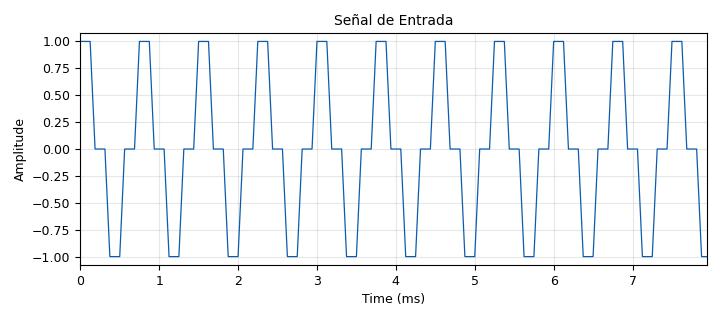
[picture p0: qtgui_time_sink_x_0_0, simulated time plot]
options:
  parameters:
    generate_options: qt_gui
    id: Promedios_de_Tiempos
    output_language: python
    title: Not titled yet
  states: {}

blocks:
- name: samp_rate
  id: variable
  parameters:
    value: '16000'
  states: {}
- name: blocks_vector_source_x_0
  id: blocks_vector_source_x
  parameters:
    repeat: 'True'
    type: float
    vector: (1,1,1,0,0,0,-1,-1,-1,0,0,0)
  states: {}
- name: epy_block_0
  id: epy_block
  parameters:
    _source_code: |
      """
      Embedded Python Blocks:

      Each time this file is saved, GRC will instantiate the first class it finds
      to get ports and parameters of your block. The arguments to __init__  will
      be the parameters. All of them are required to have default values!
      """

      import numpy as np
      from gnuradio import gr
      class blk (gr. sync_block ):
          def __init__ ( self, additionFlag=True) : # only default arguments here
              gr. sync_block . __init__ (
                  self ,
                  name ='Promedios_de_tiempos', 
                  in_sig =[ np. float32 ],
                  out_sig =[ np. float32 , np.float32, np.float32, np.float32, np.float32]
              )
              self . acum_anterior = 0
              self . Ntotales = 0
              self . acum_anterior1 = 0
              self . acum_anterior2 = 0
              
          def work (self , input_items , output_items ):
              x = input_items [0] # Senial de entrada .
              y0 = output_items [0] # Promedio de la senial
              y1 = output_items [1] # Media de la senial
              y2 = output_items [2] # RMS de la senial
              y3 = output_items [3] # Potencia promedio de la senial
              y4 = output_items [4] # Desviacion estandar de la senial

              # Calculo del promedio
              N = len (x)
              self . Ntotales = self . Ntotales + N
              acumulado = self . acum_anterior + np. cumsum (x)
              self . acum_anterior = acumulado [N -1]
              y0 [:]= acumulado / self . Ntotales
              
              # Calculo de la media cuadratica
              x2=np. multiply (x,x)
              acumulado1 = self . acum_anterior1 + np. cumsum (x2)
              self . acum_anterior1 = acumulado [N -1]
              y1 [:] = acumulado1 / self . Ntotales
              
              # Calculo de la RMS
              y2 [:] = np. sqrt (y1)
              
              # Calculo de la potencia promedio
              y3 [:] = np. multiply (y2 ,y2)

              # Calculo de la desviacion estandar
              x3 = np. multiply (x-y0 ,x-y0)
              acumulado2 = self . acum_anterior2 + np. cumsum (x3)
              self . acum_anterior2 = acumulado2 [N -1]
              y4 [:] = np. sqrt ( acumulado2 / self . Ntotales )
              
              return len (x)
              output_items[0][:]=input_items[0]*self.additionFlag
              return len (output_items[0])
    additionFlag: 'True'
  states: {}
- name: epy_block_1
  id: epy_block
  parameters:
    _source_code: |
      """
      Embedded Python Blocks:

      Each time this file is saved, GRC will instantiate the first class it finds
      to get ports and parameters of your block. The arguments to __init__  will
      be the parameters. All of them are required to have default values!
      """

      import numpy as np
      from gnuradio import gr


      class blk(gr.sync_block):  # other base classes are basic_block, decim_block, interp_block
          """Embedded Python Block example - a simple multiply const"""

          def __init__(self, additionFlag=True):  # only default arguments here
              gr.sync_block.__init__(
                  self,
                  name='e_Acum',   # will show up in GRC
                  in_sig=[np.float32],
                  out_sig=[np.float32]
              )
              # Estado acumulado
              self.acumulated_value = 0.0
              self.additionFlag = additionFlag
          
          def work(self, input_items, output_items):
              x = input_items[0]  # Señal de entrada
              y0 = output_items[0]  # Señal acumulada

              # Realizamos la acumulación continua
              for i in range(len(x)):
                  self.acumulated_value += x[i]  # Acumulamos los valores
                  y0[i] = self.acumulated_value  # Guardamos el valor acumulado en la salida

              return len(y0)
    additionFlag: 'True'
  states: {state: disabled}
- name: epy_block_1_0
  id: epy_block
  parameters:
    _source_code: "\"\"\"\nEmbedded Python Blocks:\n\nEach time this file is saved, GRC will instantiate the first class it finds\nto get ports and parameters of your block. The arguments to __init__  will\nbe the parameters. All of them are required to have default values!\n\"\"\"\n\nimport numpy as np\nfrom gnuradio import gr\n\n\nclass blk(gr.sync_block):  # other base classes are basic_block, decim_block, interp_block\n    \"\"\"Embedded Python Block example - a simple multiply const\"\"\"\n\n    def __init__(self, additionFlag=True):  # only default arguments here\n        \"\"\"arguments to this function show up as parameters in GRC\"\"\"\n        gr.sync_block.__init__(\n            self,\n            name='e_Diff',   # will show up in GRC\n            in_sig=[np.float32],\n            out_sig=[np.float32]\n        \n        )\n        self.acum_anterior=0\n\n    def work(self, input_items, output_items):\n        x = input_items[0]\n        y0 = output_items[0]\n    \n        N = len(x)\n    \n        if N < 2:\n            return 0  # Si hay muy pocos datos, no se hace nada\n\n        diff = x[1:] - x[:-1]  # Calcula las diferencias\n    \n        y0[:len(diff)] = diff  # Copia los datos en la salida\n        return len(diff)\n\n"
    additionFlag: 'True'
  states: {state: disabled}
- name: qtgui_number_sink_0
  id: qtgui_number_sink
  parameters:
    graph_type: qtgui.NUM_GRAPH_HORIZ
    name: Media
    type: float
  states: {}
- name: qtgui_number_sink_1
  id: qtgui_number_sink
  parameters:
    graph_type: qtgui.NUM_GRAPH_HORIZ
    name: RMS
    type: float
  states: {}
- name: qtgui_number_sink_2
  id: qtgui_number_sink
  parameters:
    graph_type: qtgui.NUM_GRAPH_HORIZ
    name: Media Cuadratica
    type: float
  states: {}
- name: qtgui_number_sink_3
  id: qtgui_number_sink
  parameters:
    graph_type: qtgui.NUM_GRAPH_HORIZ
    name: Potencial Promedio
    type: float
  states: {}
- name: qtgui_number_sink_4
  id: qtgui_number_sink
  parameters:
    graph_type: qtgui.NUM_GRAPH_HORIZ
    name: Desviacion Estandar
    type: float
  states: {}
- name: qtgui_time_sink_x_0
  id: qtgui_time_sink_x
  parameters:
    name: Acumulador
    size: '512'
    srate: samp_rate
    type: float
  states: {state: disabled}
- name: qtgui_time_sink_x_0_0
  id: qtgui_time_sink_x
  parameters:
    name: Señal de Entrada
    size: '128'
    srate: samp_rate
    type: float
  states: {}
- name: qtgui_time_sink_x_0_1
  id: qtgui_time_sink_x
  parameters:
    name: Diferenciador
    size: '256'
    srate: samp_rate
    type: float
  states: {state: disabled}

connections:
- [blocks_vector_source_x_0, '0', epy_block_0, '0']
- [blocks_vector_source_x_0, '0', epy_block_1, '0']
- [blocks_vector_source_x_0, '0', epy_block_1_0, '0']
- [blocks_vector_source_x_0, '0', qtgui_time_sink_x_0_0, '0']
- [epy_block_0, '0', qtgui_number_sink_0, '0']
- [epy_block_0, '1', qtgui_number_sink_2, '0']
- [epy_block_0, '2', qtgui_number_sink_1, '0']
- [epy_block_0, '3', qtgui_number_sink_3, '0']
- [epy_block_0, '4', qtgui_number_sink_4, '0']
- [epy_block_1, '0', qtgui_time_sink_x_0, '0']
- [epy_block_1_0, '0', qtgui_time_sink_x_0_1, '0']

metadata:
  file_format: 1
  grc_version: v3.10.11.0-89-ga17f69e7
